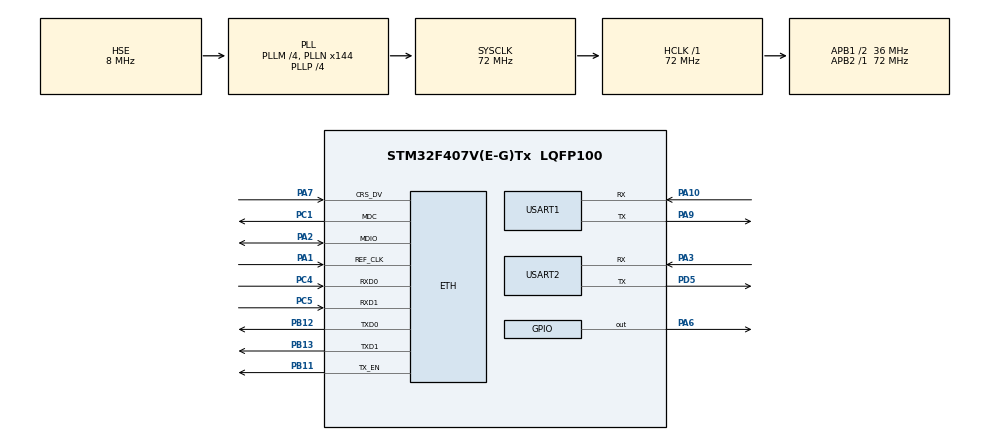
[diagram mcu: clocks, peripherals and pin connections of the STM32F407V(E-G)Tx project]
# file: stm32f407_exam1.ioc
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ETH.MediaInterface=HAL_ETH_RMII_MODE
Mcu.Family=STM32F4
Mcu.Name=STM32F407V(E-G)Tx
Mcu.Package=LQFP100
NVIC.PriorityGroup=NVIC_PRIORITYGROUP_4
NVIC.USART1_IRQn=true\:1\:0\:true\:false\:true\:true\:true\:true
PA1.Mode=RMII
PA1.Signal=ETH_REF_CLK
PA10.Mode=Asynchronous
PA10.Signal=USART1_RX
PA13.Mode=Serial_Wire
PA13.Signal=SYS_JTMS-SWDIO
PA14.Mode=Serial_Wire
PA14.Signal=SYS_JTCK-SWCLK
PA2.Mode=RMII
PA2.Signal=ETH_MDIO
PA3.Mode=Asynchronous
PA3.Signal=USART2_RX
PA6.Signal=GPIO_Output
PA7.Mode=RMII
PA7.Signal=ETH_CRS_DV
PA9.Mode=Asynchronous
PA9.Signal=USART1_TX
PB11.Mode=RMII
PB11.Signal=ETH_TX_EN
PB12.Mode=RMII
PB12.Signal=ETH_TXD0
PB13.Mode=RMII
PB13.Signal=ETH_TXD1
PC1.Mode=RMII
PC1.Signal=ETH_MDC
PC4.Mode=RMII
PC4.Signal=ETH_RXD0
PC5.Mode=RMII
PC5.Signal=ETH_RXD1
PD5.Mode=Asynchronous
PD5.Signal=USART2_TX
PH0-OSC_IN.Mode=HSE-External-Oscillator
PH0-OSC_IN.Signal=RCC_OSC_IN
PH1-OSC_OUT.Mode=HSE-External-Oscillator
PH1-OSC_OUT.Signal=RCC_OSC_OUT
ProjectManager.HeapSize=0x200
ProjectManager.StackSize=0x400
ProjectManager.TargetToolchain=Makefile
RCC.48MHZClocksFreq_Value=72000000
RCC.AHBFreq_Value=72000000
RCC.APB1CLKDivider=RCC_HCLK_DIV2
RCC.APB1Freq_Value=36000000
RCC.APB1TimFreq_Value=72000000
RCC.APB2Freq_Value=72000000
RCC.APB2TimFreq_Value=72000000
RCC.CortexFreq_Value=72000000
RCC.HCLKFreq_Value=72000000
RCC.HSE_VALUE=8000000
RCC.HSI_VALUE=16000000
RCC.LSE_VALUE=32768
RCC.PLLM=4
RCC.PLLN=144
RCC.PLLP=RCC_PLLP_DIV4
RCC.PLLSourceVirtual=RCC_PLLSOURCE_HSE
RCC.SYSCLKFreq_VALUE=72000000
RCC.SYSCLKSource=RCC_SYSCLKSOURCE_PLLCLK
RCC.VCOOutputFreq_Value=288000000
USART1.VirtualMode=VM_ASYNC
USART2.VirtualMode=VM_ASYNC
board=custom

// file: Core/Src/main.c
/* USER CODE BEGIN Header */
/**
  ******************************************************************************
  * @file           : main.c
  * @brief          : Main program body
  ******************************************************************************
  * @attention
  *
  * Copyright (c) 2024 STMicroelectronics.
  * All rights reserved.
  *
  * This software is licensed under terms that can be found in the LICENSE file
  * in the root directory of this software component.
  * If no LICENSE file comes with this software, it is provided AS-IS.
  *
  ******************************************************************************
  */
/* USER CODE END Header */
#include "main.h"
#include "string.h"

/* USER CODE BEGIN Includes */
#include <stdio.h>
#include <stdarg.h>
#include <string.h>
#include <assert.h>

#include "unity.h"
#include "yahdlc.h"
#include "function.h"
#include "function_test.h"
#include "stub_eth_transceive.h"
/* USER CODE END Includes */

ETH_TxPacketConfig TxConfig;
ETH_DMADescTypeDef  DMARxDscrTab[ETH_RX_DESC_CNT]; /* Ethernet Rx DMA Descriptors */
ETH_DMADescTypeDef  DMATxDscrTab[ETH_TX_DESC_CNT]; /* Ethernet Tx DMA Descriptors */

ETH_HandleTypeDef heth;

UART_HandleTypeDef huart1;
UART_HandleTypeDef huart2;

/* USER CODE BEGIN PV */
extern uint16_t timeoutReceive = 70;
extern uint16_t delaytimer = 1000;
extern uint8_t newReceive = 0;

yahdlc_control_t control ={0};
uint8_t yahdlc_send_frame[BUF_SIZE] = {0};
/* USER CODE END PV */

void SystemClock_Config(void);
static void MX_GPIO_Init(void);
static void MX_USART1_UART_Init(void);
static void MX_USART2_UART_Init(void);
static void MX_ETH_Init(void);
/* USER CODE BEGIN PFP */
int uart_printf(const char *fmt, ...);

void HAL_UART_RxCpltCallback(UART_HandleTypeDef *huart);

extern int debug_printf(const char *fmt, ...);
void debug_sendchar(const char pdata);
void append_char_to_buffer(char *buffer, size_t buffer_size, char c);
void ProcessDataFromUART(void);
/* USER CODE END PFP */

/* USER CODE BEGIN 0 */
uint8_t data_rx[2];
uint8_t buf_rx[BUF_SIZE];
uint16_t t = 0;
yahdlc_state_t state;
/* USER CODE END 0 */

int main(void)
{

  /* MCU Configuration--------------------------------------------------------*/

  /* Reset of all peripherals, Initializes the Flash interface and the Systick. */
  HAL_Init();

  /* Configure the system clock */
  SystemClock_Config();

  /* Initialize all configured peripherals */
  MX_GPIO_Init();
  MX_USART1_UART_Init();
  MX_USART2_UART_Init();
  MX_ETH_Init();
  /* USER CODE BEGIN 2 */
  // debug_printf("HELLO WORLD!!!\r\n");
  HAL_UART_Receive_IT(&huart1, data_rx, 1);
  memset(yahdlc_send_frame, 0, BUF_SIZE);
  tc_add();
  debug_printf("%s\n",yahdlc_send_frame);
  memset(yahdlc_send_frame, 0, BUF_SIZE);
  tc_subtract();
  debug_printf("%s\n",yahdlc_send_frame);
  memset(yahdlc_send_frame, 0, BUF_SIZE);
  tc_multiply();
  debug_printf("%s\n",yahdlc_send_frame);
  memset(yahdlc_send_frame, 0, BUF_SIZE);
  tc_divide();
  debug_printf("%s\n",yahdlc_send_frame);

  yahdlc_set_state(&state);

  control.frame = YAHDLC_FRAME_DATA;
  control.seq_no = 0;

  uint8_t input_data[] = "1234567\r\n";
  int frame_len;

  yahdlc_frame_data(&control, input_data, sizeof(input_data)-1, yahdlc_send_frame, &frame_len);
  for(int i=0; i<frame_len; i++)
  {
    // debug_sendchar(yahdlc_send_frame[i]);
    uart_sendchar(yahdlc_send_frame[i]);
  }

  struct phy_device *phydev;
  vsc85xx_config_init(phydev);

  /* USER CODE END 2 */

  /* Infinite loop */
  while (1)
  {

  }
}

void SystemClock_Config(void)
{
  RCC_OscInitTypeDef RCC_OscInitStruct = {0};
  RCC_ClkInitTypeDef RCC_ClkInitStruct = {0};

  /** Configure the main internal regulator output voltage
  */
  __HAL_RCC_PWR_CLK_ENABLE();
  __HAL_PWR_VOLTAGESCALING_CONFIG(PWR_REGULATOR_VOLTAGE_SCALE1);

  /** Initializes the RCC Oscillators according to the specified parameters
  * in the RCC_OscInitTypeDef structure.
  */
  RCC_OscInitStruct.OscillatorType = RCC_OSCILLATORTYPE_HSE;
  RCC_OscInitStruct.HSEState = RCC_HSE_ON;
  RCC_OscInitStruct.PLL.PLLState = RCC_PLL_ON;
  RCC_OscInitStruct.PLL.PLLSource = RCC_PLLSOURCE_HSE;
  RCC_OscInitStruct.PLL.PLLM = 4;
  RCC_OscInitStruct.PLL.PLLN = 144;
  RCC_OscInitStruct.PLL.PLLP = RCC_PLLP_DIV4;
  RCC_OscInitStruct.PLL.PLLQ = 4;
  if (HAL_RCC_OscConfig(&RCC_OscInitStruct) != HAL_OK)
  {
    Error_Handler();
  }

  /** Initializes the CPU, AHB and APB buses clocks
  */
  RCC_ClkInitStruct.ClockType = RCC_CLOCKTYPE_HCLK|RCC_CLOCKTYPE_SYSCLK
                              |RCC_CLOCKTYPE_PCLK1|RCC_CLOCKTYPE_PCLK2;
  RCC_ClkInitStruct.SYSCLKSource = RCC_SYSCLKSOURCE_PLLCLK;
  RCC_ClkInitStruct.AHBCLKDivider = RCC_SYSCLK_DIV1;
  RCC_ClkInitStruct.APB1CLKDivider = RCC_HCLK_DIV2;
  RCC_ClkInitStruct.APB2CLKDivider = RCC_HCLK_DIV1;

  if (HAL_RCC_ClockConfig(&RCC_ClkInitStruct, FLASH_LATENCY_2) != HAL_OK)
  {
    Error_Handler();
  }
}

static void MX_ETH_Init(void)
{

   static uint8_t MACAddr[6];

  heth.Instance = ETH;
  MACAddr[0] = 0x00;
  MACAddr[1] = 0x80;
  MACAddr[2] = 0xE1;
  MACAddr[3] = 0x00;
  MACAddr[4] = 0x00;
  MACAddr[5] = 0x00;
  heth.Init.MACAddr = &MACAddr[0];
  heth.Init.MediaInterface = HAL_ETH_RMII_MODE;
  heth.Init.TxDesc = DMATxDscrTab;
  heth.Init.RxDesc = DMARxDscrTab;
  heth.Init.RxBuffLen = 1524;

  if (HAL_ETH_Init(&heth) != HAL_OK)
  {
    Error_Handler();
  }

  memset(&TxConfig, 0 , sizeof(ETH_TxPacketConfig));
  TxConfig.Attributes = ETH_TX_PACKETS_FEATURES_CSUM | ETH_TX_PACKETS_FEATURES_CRCPAD;
  TxConfig.ChecksumCtrl = ETH_CHECKSUM_IPHDR_PAYLOAD_INSERT_PHDR_CALC;
  TxConfig.CRCPadCtrl = ETH_CRC_PAD_INSERT;

}

static void MX_USART1_UART_Init(void)
{

  huart1.Instance = USART1;
  huart1.Init.BaudRate = 115200;
  huart1.Init.WordLength = UART_WORDLENGTH_8B;
  huart1.Init.StopBits = UART_STOPBITS_1;
  huart1.Init.Parity = UART_PARITY_NONE;
  huart1.Init.Mode = UART_MODE_TX_RX;
  huart1.Init.HwFlowCtl = UART_HWCONTROL_NONE;
  huart1.Init.OverSampling = UART_OVERSAMPLING_16;
  if (HAL_UART_Init(&huart1) != HAL_OK)
  {
    Error_Handler();
  }

}

static void MX_USART2_UART_Init(void)
{

  huart2.Instance = USART2;
  huart2.Init.BaudRate = 115200;
  huart2.Init.WordLength = UART_WORDLENGTH_8B;
  huart2.Init.StopBits = UART_STOPBITS_1;
  huart2.Init.Parity = UART_PARITY_NONE;
  huart2.Init.Mode = UART_MODE_TX_RX;
  huart2.Init.HwFlowCtl = UART_HWCONTROL_NONE;
  huart2.Init.OverSampling = UART_OVERSAMPLING_16;
  if (HAL_UART_Init(&huart2) != HAL_OK)
  {
    Error_Handler();
  }

}

static void MX_GPIO_Init(void)
{
  GPIO_InitTypeDef GPIO_InitStruct = {0};

  /* GPIO Ports Clock Enable */
  __HAL_RCC_GPIOH_CLK_ENABLE();
  __HAL_RCC_GPIOC_CLK_ENABLE();
  __HAL_RCC_GPIOA_CLK_ENABLE();
  __HAL_RCC_GPIOB_CLK_ENABLE();
  __HAL_RCC_GPIOD_CLK_ENABLE();

  /*Configure GPIO pin Output Level */
  HAL_GPIO_WritePin(GPIOA, GPIO_PIN_6, GPIO_PIN_RESET);

  /*Configure GPIO pin : PA6 */
  GPIO_InitStruct.Pin = GPIO_PIN_6;
  GPIO_InitStruct.Mode = GPIO_MODE_OUTPUT_PP;
  GPIO_InitStruct.Pull = GPIO_NOPULL;
  GPIO_InitStruct.Speed = GPIO_SPEED_FREQ_LOW;
  HAL_GPIO_Init(GPIOA, &GPIO_InitStruct);

}

/* USER CODE BEGIN 4 */
int uart_printf(const char *fmt, ...)
{
  char buf[1024];
  int len, i;
  va_list args;
  va_start (args, fmt);

  len = vsprintf(buf, fmt, args);
  for (i=0; i<len; i++)
  {
    HAL_UART_Transmit(&huart1, &buf[i], sizeof(char), 10);
  }
  va_end(args);
  return len;
}

void uart_sendchar(const char pdata)
{
  char temp = pdata;
  HAL_UART_Transmit(&huart1, &temp, sizeof(char), 10);
  // if ('\n' == pdata)
  // {
  //   temp = '\r';
  //   HAL_UART_Transmit(&huart1, &temp, sizeof(char), 10);
  // }
}

int debug_printf(const char *fmt, ...)
{
  char buf[1024];
  int len, i;
  va_list args;
  va_start (args, fmt);

  len = vsprintf(buf, fmt, args);
  for (i=0; i<len; i++)
  {
    HAL_UART_Transmit(&huart2, &buf[i], sizeof(char), 10);
  }
  va_end(args);
  return len;
}

void debug_sendchar(const char pdata)
{
  char temp = pdata;
  HAL_UART_Transmit(&huart2, &temp, sizeof(char), 10);
  // if ('\n' == pdata)
  // {
  //   temp = '\r';
  //   HAL_UART_Transmit(&huart1, &temp, sizeof(char), 10);
  // }
}

void append_char_to_buffer(char *buffer, size_t buffer_size, char c) {
    size_t len = strlen(buffer);
    if (len + 1 < buffer_size) {
        buffer[len] = c;
        buffer[len + 1] = '\0';
    } else {
        return;
    }
}

void HAL_UART_RxCpltCallback(UART_HandleTypeDef *huart)
{
  timeoutReceive = 70;
  // debug_sendchar(data_rx[0]);
  memcpy(buf_rx+t, data_rx, 1);
  if (++t >= BUF_SIZE) t = 0;
  HAL_UART_Receive_IT(&huart1, data_rx, 1);
}

void ProcessDataFromUART(void)
{
	/* Neu khong co du lieu thi khong xu ly */
	if(newReceive == 0)
		return;

	/* Xoa co bao co du lieu */
	newReceive = 0;
	/* Xu ly lenh */
  int ret;
  uint8_t received_data[BUF_SIZE] = {0};
  int received_len = t;
  ret = yahdlc_get_data(&control, buf_rx, t, received_data, &received_len);
  if (ret == 0) {
    if (control.frame == YAHDLC_FRAME_ACK)
    {
      ; // Do nothing
    }
    else if (control.frame == YAHDLC_FRAME_NACK)
    {
      ; // Do nothing
    }
    else if (control.frame == YAHDLC_FRAME_DATA)
    {
      debug_printf("\r\ncontrol field: frame = %d, seq_no = %d\r\n", control.frame, control.seq_no);
      debug_printf("Received data: \r\n");
      for(int i=0; i<received_len; i++)
      {
        debug_sendchar(received_data[i]);
      }
      control.frame = YAHDLC_FRAME_ACK;
      control.seq_no += 1;
      // Generate the ACK frame
      char frame[BUF_SIZE];
      unsigned int frame_len;
      yahdlc_frame_data(&control, NULL, 0, frame, &frame_len);
      for (unsigned int i = 0; i < frame_len; i++) {
        uart_sendchar(frame[i]);
      }

      // Process receive data buffer
      if((strstr((char*)received_data, "tc_")))
      {
        memset(yahdlc_send_frame, 0, BUF_SIZE);
        if((strstr((char*)received_data, "tc_add")))
        {
          tc_add();
        }
        else if((strstr((char*)received_data, "tc_subtract")))
        {
          tc_subtract();
        }
        else if((strstr((char*)received_data, "tc_multiply")))
        {
          tc_multiply();
        }
        else if((strstr((char*)received_data, "tc_divide")))
        {
          tc_divide();
        }

        debug_printf("\n======\n%s\n - length = %d\n",yahdlc_send_frame, strlen(yahdlc_send_frame));

        HAL_Delay(1000);
        control.frame = YAHDLC_FRAME_DATA;
        control.seq_no += 1;
        memset(frame, 0, BUF_SIZE);
        yahdlc_frame_data(&control, yahdlc_send_frame, strlen(yahdlc_send_frame), frame, &frame_len);
        // debug_printf("%s\n - length = %d\n", frame, frame_len);

        for (unsigned int i = 0; i < frame_len; i++) {
          uart_sendchar(frame[i]);
        }
      }
    }
    else
    {
      ; // Do nothing
    }
  } else {
      // debug_printf("Error decoding frame %d\r\n", ret);
      // debug_printf("t = %d buf_rx:\r\n", t);
      // for(int i=0; i<t; i++)
      // {
      //   debug_printf("0x%02x, ", buf_rx[i]);
      // }
      // debug_printf("\r\nreceived_len = %d received_data:\r\n", received_len);
      // for(int i=0; i<received_len; i++)
      // {
      //   debug_printf("0x%02x, ", received_data[i]);
      // }
      yahdlc_control_t control;
      control.frame = YAHDLC_FRAME_NACK;
      control.seq_no = 0;
      // Generate the ACK frame
      char frame[BUF_SIZE];
      unsigned int frame_len;
      yahdlc_frame_data(&control, NULL, 0, frame, &frame_len);
      for (unsigned int i = 0; i < frame_len; i++) {
        uart_sendchar(frame[i]);
      }
  }
	/* Xoa bo dem nhan */
	t = 0;
	memset(buf_rx, 0, BUF_SIZE);
}

/* USER CODE END 4 */

void Error_Handler(void)
{
  __disable_irq();
  while (1)
  {
  }
}
